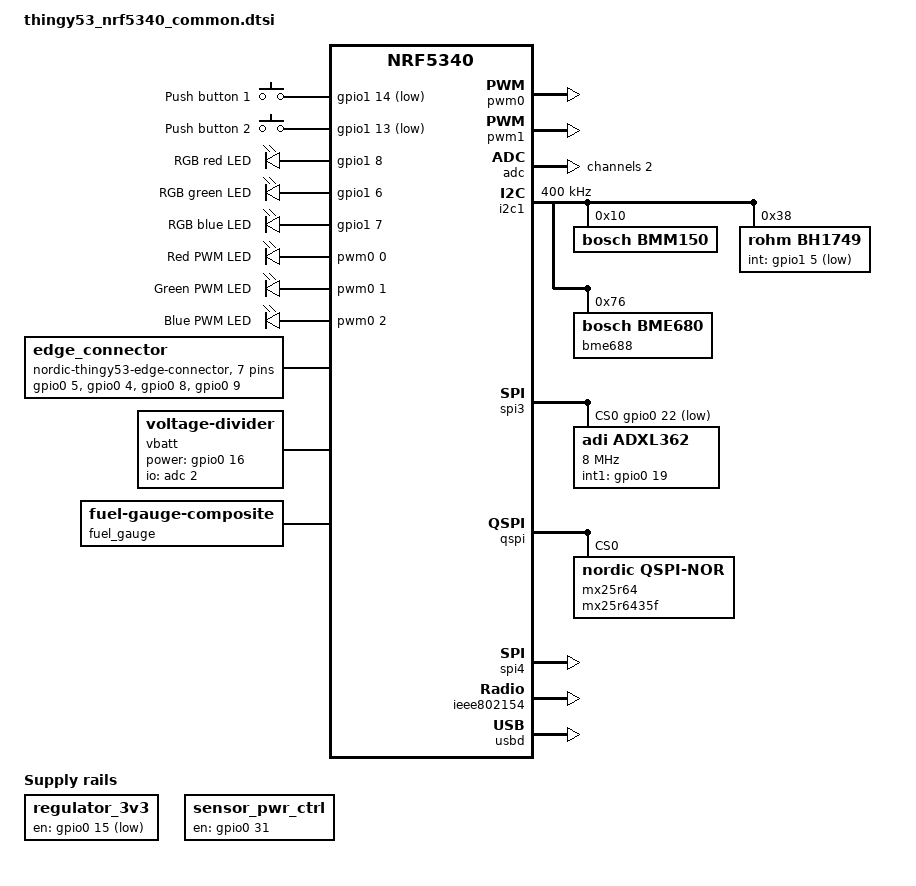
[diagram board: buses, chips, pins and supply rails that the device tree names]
/*
 * Copyright (c) 2021 Nordic Semiconductor ASA
 *
 * SPDX-License-Identifier: Apache-2.0
 */
#include "thingy53_nrf5340_common-pinctrl.dtsi"
#include <zephyr/dt-bindings/input/input-event-codes.h>
#include <zephyr/dt-bindings/battery/battery.h>

/ {
	chosen {
		zephyr,bt-hci-ipc = &ipc0;
		zephyr,bt-hci = &bt_hci_ipc0;
		nordic,802154-spinel-ipc = &ipc0;
		zephyr,ieee802154 = &ieee802154;
	};

	buttons {
		compatible = "gpio-keys";
		button0: button_0 {
			gpios = <&gpio1 14 (GPIO_PULL_UP | GPIO_ACTIVE_LOW)>;
			label = "Push button 1";
			zephyr,code = <INPUT_KEY_0>;
		};
		button1: button_1 {
			gpios = <&gpio1 13 (GPIO_PULL_UP | GPIO_ACTIVE_LOW)>;
			label = "Push button 2";
			zephyr,code = <INPUT_KEY_1>;
		};
	};

	leds {
		compatible = "gpio-leds";
		red_led: led_1 {
			gpios = <&gpio1 8 GPIO_ACTIVE_HIGH>;
			label = "RGB red LED";
		};
		green_led: led_2 {
			gpios = <&gpio1 6 GPIO_ACTIVE_HIGH>;
			label = "RGB green LED";
		};
		blue_led: led_3 {
			gpios = <&gpio1 7 GPIO_ACTIVE_HIGH>;
			label = "RGB blue LED";
		};
	};

	pwmleds {
		compatible = "pwm-leds";
		red_led_pwm: led_pwm_0 {
			pwms = <&pwm0 0 PWM_MSEC(20) PWM_POLARITY_NORMAL>;
			label = "Red PWM LED";
		};

		green_led_pwm: led_pwm_1 {
			pwms = <&pwm0 1 PWM_MSEC(20) PWM_POLARITY_NORMAL>;
			label = "Green PWM LED";
		};

		blue_led_pwm: led_pwm_2 {
			pwms = <&pwm0 2 PWM_MSEC(20) PWM_POLARITY_NORMAL>;
			label = "Blue PWM LED";
		};
	};

	edge_connector: connector {
		compatible = "nordic-thingy53-edge-connector";
		#gpio-cells = <2>;
		gpio-map-mask = <0xffffffff 0xffffffc0>;
		gpio-map-pass-thru = <0 0x3f>;
		gpio-map = <8 0 &gpio0 5 0>,	/* P8, P0.05/AIN1 */
			   <9 0 &gpio0 4 0>,	/* P9, P0.04/AIN0 */
			   <15 0 &gpio0 8 0>,	/* P15, P0.08/TRACEDATA3 */
			   <16 0 &gpio0 9 0>,	/* P16, P0.09/TRACEDATA2 */
			   <17 0 &gpio0 10 0>,	/* P17, P0.10/TRACEDATA1 */
			   <18 0 &gpio0 11 0>,	/* P18, P0.11/TRACEDATA0 */
			   <19 0 &gpio0 12 0>;	/* P19, P0.12/TRACECLK */
	};

	npm1100_force_pwm_mode: npm1100_force_pwm_mode {
		compatible = "regulator-fixed";
		regulator-name = "npm1100_force_pwm_mode";
		enable-gpios = <&gpio0 8 GPIO_ACTIVE_HIGH>;
		status = "disabled";
		regulator-boot-on;
	};

	vbatt: vbatt {
		compatible = "voltage-divider";
		io-channels = <&adc 2>;
		output-ohms = <180000>;
		full-ohms = <(1500000 + 180000)>;
		power-gpios = <&gpio0 16 0>;
	};

	fuel_gauge: fuel_gauge {
		compatible = "zephyr,fuel-gauge-composite";
		battery-voltage = <&vbatt>;
		device-chemistry = "lithium-ion-polymer";
		ocv-capacity-table-0 = <BATTERY_OCV_CURVE_LITHIUM_ION_POLYMER_DEFAULT>;
		charge-full-design-microamp-hours = <1350000>;
	};

	regulator_3v3: regulator-3v3-ctrl {
		compatible = "regulator-fixed";
		regulator-name = "ncp114";
		enable-gpios = <&gpio0 15 GPIO_ACTIVE_LOW>;
		regulator-boot-on;
	};

	sensor_pwr_ctrl: sensor-pwr-ctrl {
		compatible = "regulator-fixed";
		regulator-name = "tck106ag";
		enable-gpios = <&gpio0 31 GPIO_ACTIVE_HIGH>;
		regulator-boot-on;
	};

	gpio_fwd: nrf-gpio-forwarder {
		compatible = "nordic,nrf-gpio-forwarder";
		status = "okay";
		fem-gpio-if {
			gpios = <&gpio1 11 0>,
				<&gpio1 12 0>,
				<&gpio1 10 0>,
				<&gpio0 30 0>;
		};
	};

	/* Disabled by default as SPI lines are shared with peripherals on application core */
	spi_fwd: nrf-spi-forwarder {
		compatible = "nordic,nrf-gpio-forwarder";
		status = "disabled";
		fem-spi-if {
			gpios = <&gpio0 24 0>,
				<&gpio0 29 0>,
				<&gpio0 27 0>,
				<&gpio0 28 0>;
		};
	};

	aliases {
		sw0 = &button0;
		sw1 = &button1;
		led0 = &red_led;
		led1 = &green_led;
		led2 = &blue_led;
		pwm-led0 = &red_led_pwm;
		pwm-led1 = &green_led_pwm;
		pwm-led2 = &blue_led_pwm;
		magn0 = &bmm150;
		watchdog0 = &wdt0;
		accel0 = &adxl362;
		mcuboot-button0 = &button1;
		mcuboot-led0 = &blue_led;
	};
};

/* RGB LED control */
&pwm0 {
	status = "okay";
	pinctrl-0 = <&pwm0_default>;
	pinctrl-1 = <&pwm0_sleep>;
	pinctrl-names = "default", "sleep";
};

/* Buzzer control */
&pwm1 {
	status = "okay";
	pinctrl-0 = <&pwm1_default>;
	pinctrl-1 = <&pwm1_sleep>;
	pinctrl-names = "default", "sleep";
};

&adc {
	#address-cells = <1>;
	#size-cells = <0>;
	status = "okay";

	channel@2 {
		reg = <2>;
		zephyr,gain = "ADC_GAIN_1";
		zephyr,reference = "ADC_REF_INTERNAL";
		zephyr,vref-mv = <600>;
		zephyr,acquisition-time = <ADC_ACQ_TIME_DEFAULT>;
		zephyr,resolution = <12>;
		zephyr,input-positive = <NRF_SAADC_AIN2>;
	};
};

&gpiote {
	status = "okay";
};

&gpio0 {
	status = "okay";
};

&gpio1 {
	status = "okay";
};

&i2c1 {
	compatible = "nordic,nrf-twim";
	status = "okay";
	clock-frequency = <I2C_BITRATE_FAST>;

	pinctrl-0 = <&i2c1_default>;
	pinctrl-1 = <&i2c1_sleep>;
	pinctrl-names = "default", "sleep";
	bmm150: bmm150@10 {
		compatible = "bosch,bmm150";
		reg = <0x10>;
	};

	bh1749: bh1749@38 {
		compatible = "rohm,bh1749";
		reg = <0x38>;
		int-gpios = <&gpio1 5 (GPIO_PULL_UP | GPIO_ACTIVE_LOW)>;
	};

	bme688: bme688@76 {
		compatible = "bosch,bme680";
		reg = <0x76>;
	};
};

&spi3 {
	compatible = "nordic,nrf-spim";
	status = "okay";
	cs-gpios = <&gpio0 22 GPIO_ACTIVE_LOW>,
		   <&gpio1 4  GPIO_ACTIVE_LOW>,
		   <&gpio0 24 GPIO_ACTIVE_LOW>;

	pinctrl-0 = <&spi3_default>;
	pinctrl-1 = <&spi3_sleep>;
	pinctrl-names = "default", "sleep";
	adxl362: spi-dev-adxl362@0 {
		compatible = "adi,adxl362";
		spi-max-frequency = <8000000>;
		reg = <0>;
		int1-gpios = <&gpio0 19 0>;
	};

	bmi270: spi-dev-bmi270@1 {
		compatible = "bosch,bmi270";
		status = "disabled";
		spi-max-frequency = <8000000>;
		reg = <1>;
	};

	nrf_radio_fem_spi: fem_spi@2 {
		compatible = "nordic,nrf21540-fem-spi";
		status = "disabled";
		reg = <2>;
		spi-max-frequency = <8000000>;
	};
};

/* UART0 GPIOs can be configured for other use-cases */
&uart0 {
	/* Disabled by default */
	current-speed = <115200>;
	status = "disabled";
	pinctrl-0 = <&uart0_default>;
	pinctrl-1 = <&uart0_sleep>;
	pinctrl-names = "default", "sleep";
};

&qspi {
	status = "okay";
	pinctrl-0 = <&qspi_default>;
	pinctrl-1 = <&qspi_sleep>;
	pinctrl-names = "default", "sleep";
	mx25r64: mx25r6435f@0 {
		compatible = "nordic,qspi-nor";
		reg = <0>;
		/* MX25R64 supports only pp and pp4io */
		/* Thingy:53 supports only pp and pp2o options */
		writeoc = "pp";
		/* MX25R64 supports all readoc options */
		/* Thingy:53 supports only fastread and read2io options */
		readoc = "read2io";
		sck-frequency = <8000000>;
		jedec-id = [c2 28 17];
		sfdp-bfp = [
			e5 20 f1 ff  ff ff ff 03  44 eb 08 6b  08 3b 04 bb
			ee ff ff ff  ff ff 00 ff  ff ff 00 ff  0c 20 0f 52
			10 d8 00 ff  23 72 f5 00  82 ed 04 cc  44 83 68 44
			30 b0 30 b0  f7 c4 d5 5c  00 be 29 ff  f0 d0 ff ff
		];
		size = <67108864>;
		has-dpd;
		t-enter-dpd = <10000>;
		t-exit-dpd = <35000>;
	};
};

edge_connector_spi: &spi4 {
	compatible = "nordic,nrf-spim";
	status = "okay";
	cs-gpios = <&edge_connector 18 GPIO_ACTIVE_LOW>;
	pinctrl-0 = <&spi4_default>;
	pinctrl-1 = <&spi4_sleep>;
	pinctrl-names = "default", "sleep";
};

&ieee802154 {
	status = "okay";
};

zephyr_udc0: &usbd {
	compatible = "nordic,nrf-usbd";
	status = "okay";
};

/* Include default memory partition configuration file */
#include <common/nordic/nrf5340_cpuapp_partition.dtsi>
